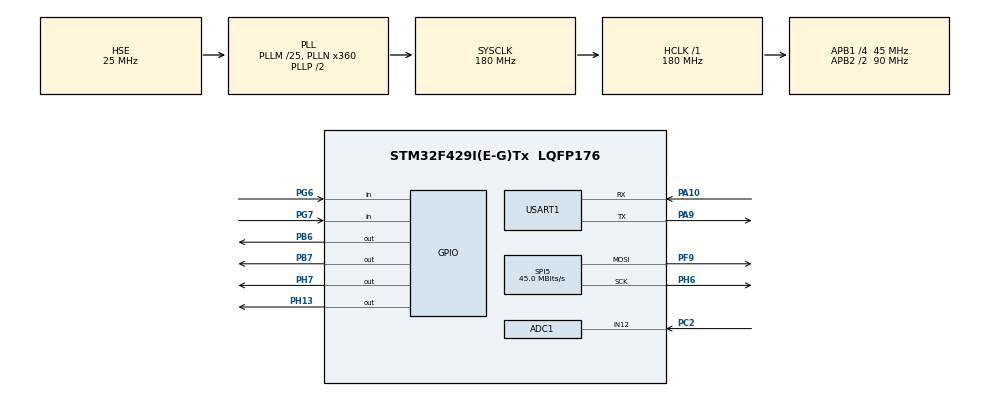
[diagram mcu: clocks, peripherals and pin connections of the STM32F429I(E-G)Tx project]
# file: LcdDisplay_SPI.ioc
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ADC1.Channel-0\#ChannelRegularConversion=ADC_CHANNEL_12
ADC1.DMAContinuousRequests=ENABLE
ADC1.ExternalTrigConv=ADC_EXTERNALTRIGCONV_T2_CC2
ADC1.NbrOfConversion=1
ADC1.NbrOfConversionFlag=1
ADC1.Rank-0\#ChannelRegularConversion=1
ADC1.SamplingTime-0\#ChannelRegularConversion=ADC_SAMPLETIME_480CYCLES
ADC1.master=1
Dma.ADC1.0.Direction=DMA_PERIPH_TO_MEMORY
Dma.ADC1.0.FIFOMode=DMA_FIFOMODE_DISABLE
Dma.ADC1.0.Instance=DMA2_Stream0
Dma.ADC1.0.MemDataAlignment=DMA_MDATAALIGN_HALFWORD
Dma.ADC1.0.MemInc=DMA_MINC_ENABLE
Dma.ADC1.0.Mode=DMA_CIRCULAR
Dma.ADC1.0.PeriphDataAlignment=DMA_PDATAALIGN_HALFWORD
Dma.ADC1.0.PeriphInc=DMA_PINC_DISABLE
Dma.ADC1.0.Priority=DMA_PRIORITY_HIGH
Dma.Request0=ADC1
Dma.Request1=SPI5_TX
Dma.Request2=USART1_TX
Dma.SPI5_TX.1.Direction=DMA_MEMORY_TO_PERIPH
Dma.SPI5_TX.1.FIFOMode=DMA_FIFOMODE_DISABLE
Dma.SPI5_TX.1.Instance=DMA2_Stream6
Dma.SPI5_TX.1.MemDataAlignment=DMA_MDATAALIGN_BYTE
Dma.SPI5_TX.1.MemInc=DMA_MINC_ENABLE
Dma.SPI5_TX.1.Mode=DMA_NORMAL
Dma.SPI5_TX.1.PeriphDataAlignment=DMA_PDATAALIGN_BYTE
Dma.SPI5_TX.1.PeriphInc=DMA_PINC_DISABLE
Dma.SPI5_TX.1.Priority=DMA_PRIORITY_LOW
Dma.USART1_TX.2.Direction=DMA_MEMORY_TO_PERIPH
Dma.USART1_TX.2.FIFOMode=DMA_FIFOMODE_DISABLE
Dma.USART1_TX.2.Instance=DMA2_Stream7
Dma.USART1_TX.2.MemDataAlignment=DMA_MDATAALIGN_BYTE
Dma.USART1_TX.2.MemInc=DMA_MINC_ENABLE
Dma.USART1_TX.2.Mode=DMA_NORMAL
Dma.USART1_TX.2.PeriphDataAlignment=DMA_PDATAALIGN_BYTE
Dma.USART1_TX.2.PeriphInc=DMA_PINC_DISABLE
Dma.USART1_TX.2.Priority=DMA_PRIORITY_LOW
Mcu.Family=STM32F4
Mcu.Name=STM32F429I(E-G)Tx
Mcu.Package=LQFP176
NVIC.DMA2_Stream0_IRQn=true\:0\:0\:false\:false\:true\:false\:true\:true
NVIC.DMA2_Stream6_IRQn=true\:0\:0\:false\:false\:true\:false\:true\:true
NVIC.DMA2_Stream7_IRQn=true\:0\:0\:false\:false\:true\:false\:true\:true
NVIC.PriorityGroup=NVIC_PRIORITYGROUP_4
NVIC.TIM6_DAC_IRQn=true\:0\:0\:false\:false\:true\:true\:true\:true
NVIC.TIM7_IRQn=true\:0\:0\:false\:false\:true\:true\:true\:true
NVIC.USART1_IRQn=true\:0\:0\:false\:false\:true\:true\:true\:true
PA10.Mode=Asynchronous
PA10.Signal=USART1_RX
PA9.Mode=Asynchronous
PA9.Signal=USART1_TX
PB6.Signal=GPIO_Output
PB7.Signal=GPIO_Output
PC2.Signal=ADCx_IN12
PF9.GPIO_PuPd=GPIO_PULLUP
PF9.Mode=TX_Only_Simplex_Unidirect_Master
PF9.Signal=SPI5_MOSI
PG6.Signal=GPIO_Input
PG7.Signal=GPIO_Input
PH0/OSC_IN.Mode=HSE-External-Oscillator
PH0/OSC_IN.Signal=RCC_OSC_IN
PH1/OSC_OUT.Mode=HSE-External-Oscillator
PH1/OSC_OUT.Signal=RCC_OSC_OUT
PH13.GPIO_PuPd=GPIO_PULLUP
PH13.GPIO_Speed=GPIO_SPEED_FREQ_VERY_HIGH
PH13.Signal=GPIO_Output
PH6.GPIO_PuPd=GPIO_PULLUP
PH6.Mode=TX_Only_Simplex_Unidirect_Master
PH6.Signal=SPI5_SCK
PH7.GPIO_PuPd=GPIO_PULLUP
PH7.GPIO_Speed=GPIO_SPEED_FREQ_VERY_HIGH
PH7.PinState=GPIO_PIN_SET
PH7.Signal=GPIO_Output
ProjectManager.HeapSize=0x800
ProjectManager.StackSize=0x800
ProjectManager.TargetToolchain=MDK-ARM V5
RCC.48MHZClocksFreq_Value=90000000
RCC.AHBFreq_Value=180000000
RCC.APB1CLKDivider=RCC_HCLK_DIV4
RCC.APB1Freq_Value=45000000
RCC.APB1TimFreq_Value=90000000
RCC.APB2CLKDivider=RCC_HCLK_DIV2
RCC.APB2Freq_Value=90000000
RCC.APB2TimFreq_Value=180000000
RCC.CortexFreq_Value=180000000
RCC.HCLKFreq_Value=180000000
RCC.HSE_VALUE=25000000
RCC.HSI_VALUE=16000000
RCC.LSE_VALUE=32768
RCC.PLLM=25
RCC.PLLN=360
RCC.PLLSourceVirtual=RCC_PLLSOURCE_HSE
RCC.SYSCLKFreq_VALUE=180000000
RCC.SYSCLKSource=RCC_SYSCLKSOURCE_PLLCLK
RCC.VCOOutputFreq_Value=360000000
SH.ADCx_IN12.0=ADC1_IN12,IN12
SPI5.BaudRatePrescaler=SPI_BAUDRATEPRESCALER_2
SPI5.CalculateBaudRate=45.0 MBits/s
SPI5.Direction=SPI_DIRECTION_2LINES
SPI5.Mode=SPI_MODE_MASTER
SPI5.VirtualType=VM_MASTER
STMicroelectronics.X-CUBE-AI.9.1.0.ActivationBufferSizeList=18048
STMicroelectronics.X-CUBE-AI.9.1.0.ActivationBuffers=pool0
STMicroelectronics.X-CUBE-AI.9.1.0.ActivationNames=pool0
STMicroelectronics.X-CUBE-AI.9.1.0.ActivationSizes=AI_QECG_DATA_ACTIVATION_1_SIZE
STMicroelectronics.X-CUBE-AI.9.1.0.HeapSize=0x800
STMicroelectronics.X-CUBE-AI.9.1.0.InternalRamActivationBufferMaxSize=AI_QECG_DATA_ACTIVATIONS_SIZE
STMicroelectronics.X-CUBE-AI.9.1.0.LatestDirectoryUsed-1f510f8833fedd5dc4f2040b9e5abaa1edb99fe0ab456f5723c1a02f7aca6593=C\:\\Users\\fangting\\Downloads
STMicroelectronics.X-CUBE-AI.9.1.0.MaximumNumberOfInputLayer=1
STMicroelectronics.X-CUBE-AI.9.1.0.MaximumNumberOfOutputLayer=1
STMicroelectronics.X-CUBE-AI.9.1.0.MaximumSizeOfInputLayer=1
STMicroelectronics.X-CUBE-AI.9.1.0.MaximumSizeOfOutputLayer=1
STMicroelectronics.X-CUBE-AI.9.1.0.ModelActualCompression-1f510f8833fedd5dc4f2040b9e5abaa1edb99fe0ab456f5723c1a02f7aca6593=0.0
STMicroelectronics.X-CUBE-AI.9.1.0.ModelCompression-1f510f8833fedd5dc4f2040b9e5abaa1edb99fe0ab456f5723c1a02f7aca6593=Medium
STMicroelectronics.X-CUBE-AI.9.1.0.ModelFlashOccupation-1f510f8833fedd5dc4f2040b9e5abaa1edb99fe0ab456f5723c1a02f7aca6593=103892
STMicroelectronics.X-CUBE-AI.9.1.0.ModelHashList=1f510f8833fedd5dc4f2040b9e5abaa1edb99fe0ab456f5723c1a02f7aca6593
STMicroelectronics.X-CUBE-AI.9.1.0.ModelKind-1f510f8833fedd5dc4f2040b9e5abaa1edb99fe0ab456f5723c1a02f7aca6593=ONNX
STMicroelectronics.X-CUBE-AI.9.1.0.ModelMacc-1f510f8833fedd5dc4f2040b9e5abaa1edb99fe0ab456f5723c1a02f7aca6593=353088
STMicroelectronics.X-CUBE-AI.9.1.0.ModelName-1f510f8833fedd5dc4f2040b9e5abaa1edb99fe0ab456f5723c1a02f7aca6593=qecg
STMicroelectronics.X-CUBE-AI.9.1.0.ModelNameList=qecg
STMicroelectronics.X-CUBE-AI.9.1.0.ModelRamOccupation-1f510f8833fedd5dc4f2040b9e5abaa1edb99fe0ab456f5723c1a02f7aca6593=18048
STMicroelectronics.X-CUBE-AI.9.1.0.ModelStructureFile-1f510f8833fedd5dc4f2040b9e5abaa1edb99fe0ab456f5723c1a02f7aca6593=C\:\\Users\\fangting\\Downloads\\qecg_model.onnx
STMicroelectronics.X-CUBE-AI.9.1.0.ModelType-1f510f8833fedd5dc4f2040b9e5abaa1edb99fe0ab456f5723c1a02f7aca6593=STM32Cube.AI MCU runtime
STMicroelectronics.X-CUBE-AI.9.1.0.ReadyForCodeGeneration=true
STMicroelectronics.X-CUBE-AI.9.1.0.StackSize=0x800
STMicroelectronics.X-CUBE-AI.9.1.0.WorkingBufferStartAddrList=0xFFFFFFFF
STMicroelectronics.X-CUBE-AI.9.1.0.XAaCUBEAaAICcArtificialOoIntelligenceJjCore=true
STMicroelectronics.X-CUBE-AI.9.1.0.copyWeightToRam=false
STMicroelectronics.X-CUBE-AI.9.1.0.customLayerConfigEnabled=false
STMicroelectronics.X-CUBE-AI.9.1.0.noOnnxIoTranspose=false
STMicroelectronics.X-CUBE-AI.9.1.0.optimization=time
STMicroelectronics.X-CUBE-AI.9.1.0.useInputAllocation=true
STMicroelectronics.X-CUBE-AI.9.1.0.useOutputAllocation=true
STMicroelectronics.X-CUBE-ALGOBUILD.1.3.0.LibraryCcDSPOoLibraryJjDSPOoLibrary=true
TIM2.AutoReloadPreload=TIM_AUTORELOAD_PRELOAD_ENABLE
TIM2.Channel-PWM\ Generation2\ No\ Output=TIM_CHANNEL_2
TIM2.Period=7200-1
TIM2.Prescaler=100-1
TIM2.Pulse-PWM\ Generation2\ No\ Output=3600-1
TIM2.TIM_MasterOutputTrigger=TIM_TRGO_OC2REF
TIM2.TIM_MasterSlaveMode=TIM_MASTERSLAVEMODE_ENABLE
TIM6.Period=10000-1
TIM6.Prescaler=100-1
TIM7.AutoReloadPreload=TIM_AUTORELOAD_PRELOAD_DISABLE
TIM7.Period=10000-1
TIM7.Prescaler=7200-1
USART1.VirtualMode=VM_ASYNC
VP_STMicroelectronics.X-CUBE-AI_VS_ArtificialOoIntelligenceJjXAaCUBEAaAI_9.1.0.Mode=ArtificialOoIntelligenceJjXAaCUBEAaAI
VP_STMicroelectronics.X-CUBE-ALGOBUILD_VS_DSPOoLibraryJjLibrary_1.3.0_1.3.0.Mode=DSPOoLibraryJjLibrary
VP_TIM2_VS_ClockSourceINT.Mode=Internal
VP_TIM2_VS_no_output2.Mode=PWM Generation2 No Output
VP_TIM6_VS_ClockSourceINT.Mode=Enable_Timer
VP_TIM7_VS_ClockSourceINT.Mode=Enable_Timer
board=custom

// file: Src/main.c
/* USER CODE BEGIN Header */

/* USER CODE END Header */
#include "main.h"
#include "adc.h"
#include "dma.h"
#include "spi.h"
#include "tim.h"
#include "usart.h"
#include "gpio.h"

/* USER CODE BEGIN Includes */
#include "LCD/lcd_init.h"
#include "LCD/lcd.h"
#include "LCD/pic.h"
#include <string.h>
#include "filter.h"
#include <stdio.h>
#include <stdlib.h>
#include "qecg_data.h"
#include "qecg.h"
#include "dataProcess.h"
#include "handler.h"
#include "utils.h"
#include "callback.h"
#include "graphic.h"
#include "ai.h"
/* USER CODE END Includes */

/* USER CODE BEGIN PV */

// some variable for adc

/* USER CODE END PV */

void SystemClock_Config(void);

/* USER CODE BEGIN 0 */
int aiClass = -1;
float AI_possibility = 0;
int Cursor = 0;
int heart_rate;
uint16_t ProcessedBuf[564] = {0};
uint16_t ADCBuf[188 + 140] = {0};
uint16_t DATABuf[188*4] = {0};
uint8_t ADCState = 0;             // 0 Default 1 HalfComplete 2 Complete
uint8_t ADCProcessedBufState = 0; // 0  1  2
uint16_t max_val = 0;
uint16_t min_val = UINT16_MAX;
float feq = 0;

int tick = 0;
int last_dma_tick = 0;
float point_num_each_tick = 2;
float pos = 0;

int jumpBuffer = 0;

#define DELAY 1000

void Inithuawei(void)
{
  // 华为云串口操作
  printf("ATI\r\n");
  HAL_Delay(DELAY);
  HAL_Delay(DELAY);

  // IP detection

  printf("AT+MIPCALL?\r\n");
  HAL_Delay(DELAY);

  printf("AT+MIPCALL=1\r\n");
  // printf("获取IP成功\r\n");
  HAL_Delay(DELAY);
  // huawei cloud connection
  printf("AT+HMDIS\r\n");
  HAL_Delay(DELAY);
  HAL_Delay(DELAY);
  printf("AT+HMCON=0,60,\"47f88e2625.st1.iotda-device.cn-north-4.myhuaweicloud.com\",\"1883\",\"67526b6cef99673c8ad2f66e_ecgtest\",\"338634101\",0\r\n");
  HAL_Delay(DELAY);
  HAL_Delay(DELAY);
  HAL_Delay(DELAY);
  printf("连接成功\r\n");
  HAL_Delay(DELAY);
}

void voice(int heartrate)
{
  if (heartrate >= 120)
  {

    printf("AT+GTTS=1,\"\xd0\xc4\xc2\xca\xb9\xfd\xb8\xdf\",1\r\n");
    printf("AT+GTTS=0\r\n");
  }
  else if (heartrate <= 60)
  {

    printf("AT+GTTS=1,\"\xd0\xc4\xc2\xca\xb9\xfd\xb5\xcd\",1\r\n");

    printf("AT+GTTS=0\r\n");
  }
}

/* USER CODE END 0 */

int main(void)
{

  /* MCU Configuration--------------------------------------------------------*/

  /* Reset of all peripherals, Initializes the Flash interface and the Systick. */
  HAL_Init();

  /* Configure the system clock */
  SystemClock_Config();

  /* Initialize all configured peripherals */
  MX_GPIO_Init();
  MX_DMA_Init();
  MX_SPI5_Init();
  MX_ADC1_Init();
  MX_TIM2_Init();
  MX_USART1_UART_Init();
  MX_TIM6_Init();
  MX_TIM7_Init();
  /* USER CODE BEGIN 2 */
  // HAL_UART_Transmit(&huart1, "hello", 5, 5);
  HAL_TIM_PWM_Start(&htim2, TIM_CHANNEL_2);
  // HAL_ADC_Start_DMA(&hadc1, (uint32_t *)(ADCBuf + 140), 188);
  HAL_ADC_Start_DMA(&hadc1, (uint32_t *)(DATABuf), 188*4);
  // Inithuawei();

  LCD_Init();
  LCD_Fill(0, 0, LCD_W, LCD_H, WHITE);
  HAL_TIM_Base_Start_IT(&htim6);
  HAL_TIM_Base_Start_IT(&htim7);
  /* USER CODE END 2 */

  /* Infinite loop */
  /* USER CODE BEGIN WHILE */

  if (ai_init() != 0)
  {
    return -1;
  }

  draw_ui();

  /* USER CODE END WHILE */

  /* USER CODE BEGIN 3 */
  int heartratelength;
  while (1)
  {
    if (ADCState == 2)
    {
      // uint8_t header1[8] = {0x16, 0x90, 0x16, 0x90,0x00,0x10,0x00,0x00};
      // HAL_UART_Transmit(&huart1, (uint8_t *)header1, 8, 1);
      uint8_t header[4] = {0x16, 0x80, 0x16, 0x80};
      HAL_UART_Transmit(&huart1, (uint8_t *)header, 4, 1);
      HAL_UART_Transmit_DMA(&huart1, (uint8_t *)ADCBuf, 564 * 2);
      ADCState = 0;
      if (jumpBuffer == 0)
      {
        detect_r_peaks(ADCProcessedBufState);
      }
      else
      {
        jumpBuffer--;
      }
      find_min_max();

      if (heart_rate < 100.0f)
        heartratelength = 78;
      else
        heartratelength = 79;
        // printf("AT+HMPUB=1,\"$oc/devices/67526b6cef99673c8ad2f66e_ecgtest/sys/properties/report\",%d,\"{\\\"services\\\":[{\\\"service_id\\\":\\\"HeartRateMonitor\\\",\\\"properties\\\":{\\\"HeartRate\\\":%d}}]}\"\r\n", heartratelength,heart_rate );
        // voice(heart_rate);
    }

    button_handler();
  }
  /* USER CODE END 3 */
}

void SystemClock_Config(void)
{
  RCC_OscInitTypeDef RCC_OscInitStruct = {0};
  RCC_ClkInitTypeDef RCC_ClkInitStruct = {0};

  /** Configure the main internal regulator output voltage
   */
  __HAL_RCC_PWR_CLK_ENABLE();
  __HAL_PWR_VOLTAGESCALING_CONFIG(PWR_REGULATOR_VOLTAGE_SCALE1);

  /** Initializes the RCC Oscillators according to the specified parameters
   * in the RCC_OscInitTypeDef structure.
   */
  RCC_OscInitStruct.OscillatorType = RCC_OSCILLATORTYPE_HSE;
  RCC_OscInitStruct.HSEState = RCC_HSE_ON;
  RCC_OscInitStruct.PLL.PLLState = RCC_PLL_ON;
  RCC_OscInitStruct.PLL.PLLSource = RCC_PLLSOURCE_HSE;
  RCC_OscInitStruct.PLL.PLLM = 25;
  RCC_OscInitStruct.PLL.PLLN = 360;
  RCC_OscInitStruct.PLL.PLLP = RCC_PLLP_DIV2;
  RCC_OscInitStruct.PLL.PLLQ = 4;
  if (HAL_RCC_OscConfig(&RCC_OscInitStruct) != HAL_OK)
  {
    Error_Handler();
  }

  /** Activate the Over-Drive mode
   */
  if (HAL_PWREx_EnableOverDrive() != HAL_OK)
  {
    Error_Handler();
  }

  /** Initializes the CPU, AHB and APB buses clocks
   */
  RCC_ClkInitStruct.ClockType = RCC_CLOCKTYPE_HCLK | RCC_CLOCKTYPE_SYSCLK | RCC_CLOCKTYPE_PCLK1 | RCC_CLOCKTYPE_PCLK2;
  RCC_ClkInitStruct.SYSCLKSource = RCC_SYSCLKSOURCE_PLLCLK;
  RCC_ClkInitStruct.AHBCLKDivider = RCC_SYSCLK_DIV1;
  RCC_ClkInitStruct.APB1CLKDivider = RCC_HCLK_DIV4;
  RCC_ClkInitStruct.APB2CLKDivider = RCC_HCLK_DIV2;

  if (HAL_RCC_ClockConfig(&RCC_ClkInitStruct, FLASH_LATENCY_5) != HAL_OK)
  {
    Error_Handler();
  }
}

/* USER CODE BEGIN 4 */

/* USER CODE BEGIN PV */

/* USER CODE BEGIN PV */

/* USER CODE END 4 */

void Error_Handler(void)
{
}
